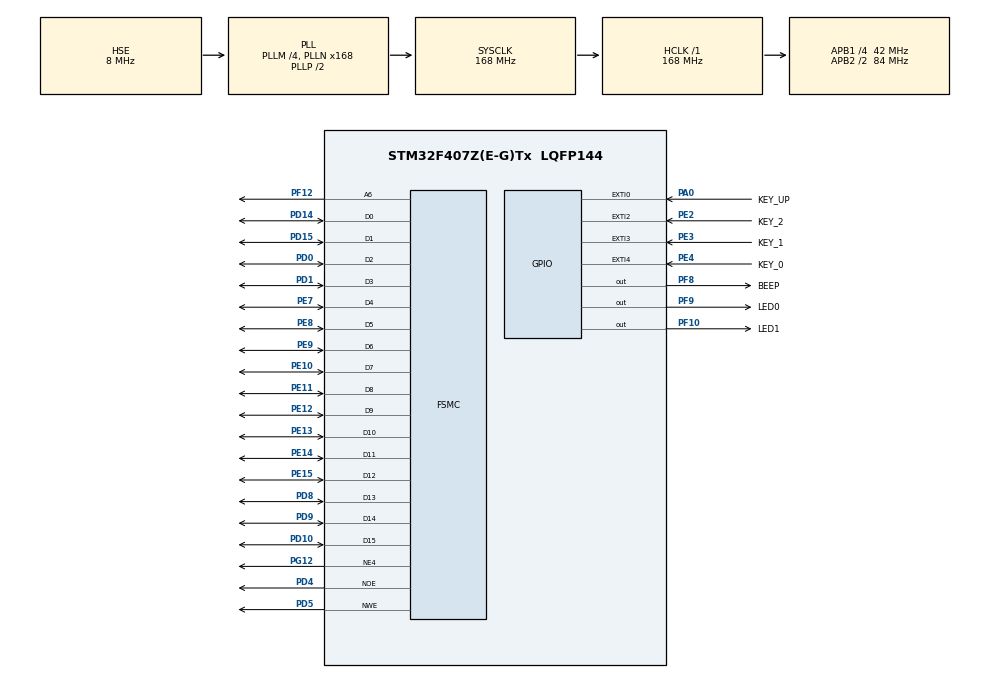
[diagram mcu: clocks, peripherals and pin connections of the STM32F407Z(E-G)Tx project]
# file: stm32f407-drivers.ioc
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FSMC.AddressSetupTime4=2
FSMC.BusTurnAroundDuration4=0
FSMC.DataSetupTime4=16
FSMC.ExtendedAddressSetupTime4=4
FSMC.ExtendedBusTurnAroundDuration4=0
FSMC.ExtendedDataSetupTime4=9
FSMC.ExtendedMode4=FSMC_EXTENDED_MODE_ENABLE
Mcu.Family=STM32F4
Mcu.Name=STM32F407Z(E-G)Tx
Mcu.Package=LQFP144
NVIC.EXTI0_IRQn=true\:1\:0\:true\:false\:true\:true\:true\:true
NVIC.EXTI2_IRQn=true\:2\:0\:true\:false\:true\:true\:true\:true
NVIC.EXTI3_IRQn=true\:1\:2\:true\:false\:true\:true\:true\:true
NVIC.EXTI4_IRQn=true\:1\:1\:true\:false\:true\:true\:true\:true
NVIC.PriorityGroup=NVIC_PRIORITYGROUP_2
PA0-WKUP.GPIO_Label=KEY_UP
PA0-WKUP.GPIO_ModeDefaultEXTI=GPIO_MODE_IT_RISING
PA0-WKUP.GPIO_PuPd=GPIO_PULLDOWN
PA0-WKUP.Signal=GPXTI0
PA13.Mode=Serial_Wire
PA13.Signal=SYS_JTMS-SWDIO
PA14.Mode=Serial_Wire
PA14.Signal=SYS_JTCK-SWCLK
PC14-OSC32_IN.Mode=LSE-External-Oscillator
PC14-OSC32_IN.Signal=RCC_OSC32_IN
PC15-OSC32_OUT.Mode=LSE-External-Oscillator
PC15-OSC32_OUT.Signal=RCC_OSC32_OUT
PD0.Signal=FSMC_D2_DA2
PD1.Signal=FSMC_D3_DA3
PD10.Signal=FSMC_D15_DA15
PD14.Signal=FSMC_D0_DA0
PD15.Signal=FSMC_D1_DA1
PD4.Signal=FSMC_NOE
PD5.Signal=FSMC_NWE
PD8.Signal=FSMC_D13_DA13
PD9.Signal=FSMC_D14_DA14
PE10.Signal=FSMC_D7_DA7
PE11.Signal=FSMC_D8_DA8
PE12.Signal=FSMC_D9_DA9
PE13.Signal=FSMC_D10_DA10
PE14.Signal=FSMC_D11_DA11
PE15.Signal=FSMC_D12_DA12
PE2.GPIO_Label=KEY_2
PE2.GPIO_ModeDefaultEXTI=GPIO_MODE_IT_FALLING
PE2.GPIO_PuPd=GPIO_PULLUP
PE2.Signal=GPXTI2
PE3.GPIO_Label=KEY_1
PE3.GPIO_ModeDefaultEXTI=GPIO_MODE_IT_FALLING
PE3.GPIO_PuPd=GPIO_PULLUP
PE3.Signal=GPXTI3
PE4.GPIO_Label=KEY_0
PE4.GPIO_ModeDefaultEXTI=GPIO_MODE_IT_FALLING
PE4.GPIO_PuPd=GPIO_PULLUP
PE4.Signal=GPXTI4
PE7.Signal=FSMC_D4_DA4
PE8.Signal=FSMC_D5_DA5
PE9.Signal=FSMC_D6_DA6
PF10.GPIO_Label=LED1
PF10.GPIO_Speed=GPIO_SPEED_FREQ_MEDIUM
PF10.PinState=GPIO_PIN_SET
PF10.Signal=GPIO_Output
PF12.Signal=FSMC_A6
PF8.GPIO_Label=BEEP
PF8.GPIO_Speed=GPIO_SPEED_FREQ_HIGH
PF8.Signal=GPIO_Output
PF9.GPIO_Label=LED0
PF9.GPIO_Speed=GPIO_SPEED_FREQ_MEDIUM
PF9.PinState=GPIO_PIN_SET
PF9.Signal=GPIO_Output
PG12.Mode=NorPsramChipSelect4_4
PG12.Signal=FSMC_NE4
PH0-OSC_IN.Mode=HSE-External-Oscillator
PH0-OSC_IN.Signal=RCC_OSC_IN
PH1-OSC_OUT.Mode=HSE-External-Oscillator
PH1-OSC_OUT.Signal=RCC_OSC_OUT
ProjectManager.HeapSize=0x200
ProjectManager.StackSize=0x400
ProjectManager.TargetToolchain=STM32CubeIDE
RCC.48MHZClocksFreq_Value=84000000
RCC.AHBFreq_Value=168000000
RCC.APB1CLKDivider=RCC_HCLK_DIV4
RCC.APB1Freq_Value=42000000
RCC.APB1TimFreq_Value=84000000
RCC.APB2CLKDivider=RCC_HCLK_DIV2
RCC.APB2Freq_Value=84000000
RCC.APB2TimFreq_Value=168000000
RCC.CortexFreq_Value=168000000
RCC.EnbaleCSS=true
RCC.HCLKFreq_Value=168000000
RCC.HSE_VALUE=8000000
RCC.HSI_VALUE=16000000
RCC.PLLM=4
RCC.PLLN=168
RCC.PLLSourceVirtual=RCC_PLLSOURCE_HSE
RCC.SYSCLKFreq_VALUE=168000000
RCC.SYSCLKSource=RCC_SYSCLKSOURCE_PLLCLK
RCC.VCOOutputFreq_Value=336000000
SH.FSMC_A6.0=FSMC_A6,A6_4
SH.FSMC_D0_DA0.0=FSMC_D0,16b-d4
SH.FSMC_D10_DA10.0=FSMC_D10,16b-d4
SH.FSMC_D11_DA11.0=FSMC_D11,16b-d4
SH.FSMC_D12_DA12.0=FSMC_D12,16b-d4
SH.FSMC_D13_DA13.0=FSMC_D13,16b-d4
SH.FSMC_D14_DA14.0=FSMC_D14,16b-d4
SH.FSMC_D15_DA15.0=FSMC_D15,16b-d4
SH.FSMC_D1_DA1.0=FSMC_D1,16b-d4
SH.FSMC_D2_DA2.0=FSMC_D2,16b-d4
SH.FSMC_D3_DA3.0=FSMC_D3,16b-d4
SH.FSMC_D4_DA4.0=FSMC_D4,16b-d4
SH.FSMC_D5_DA5.0=FSMC_D5,16b-d4
SH.FSMC_D6_DA6.0=FSMC_D6,16b-d4
SH.FSMC_D7_DA7.0=FSMC_D7,16b-d4
SH.FSMC_D8_DA8.0=FSMC_D8,16b-d4
SH.FSMC_D9_DA9.0=FSMC_D9,16b-d4
SH.FSMC_NOE.0=FSMC_NOE,Lcd4
SH.FSMC_NWE.0=FSMC_NWE,Lcd4
board=custom

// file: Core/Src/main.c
/* USER CODE BEGIN Header */
/**
  ******************************************************************************
  * @file           : main.c
  * @brief          : Main program body
  ******************************************************************************
  * @attention
  *
  * Copyright (c) 2026 STMicroelectronics.
  * All rights reserved.
  *
  * This software is licensed under terms that can be found in the LICENSE file
  * in the root directory of this software component.
  * If no LICENSE file comes with this software, it is provided AS-IS.
  *
  ******************************************************************************
  */
/* USER CODE END Header */
#include "main.h"
#include "gpio.h"
#include "fsmc.h"

/* USER CODE BEGIN Includes */
#include <stdio.h>
#include "key.h"
#include "led.h"
#include "beep.h"
//#include "exitCallback.h"
#include "tftlcd.h"
#include "picture.h"
/* USER CODE END Includes */

void SystemClock_Config(void);

int main(void)
{

  /* MCU Configuration--------------------------------------------------------*/

  /* Reset of all peripherals, Initializes the Flash interface and the Systick. */
  HAL_Init();

  /* Configure the system clock */
  SystemClock_Config();

  /* Initialize all configured peripherals */
  MX_GPIO_Init();
  MX_FSMC_Init();
  /* USER CODE BEGIN 2 */
  uint16_t color=0;
  TFTLCD_Init();			//LCD初始化

  FRONT_COLOR=BLACK;
  LCD_ShowString(10,10,tftlcd_data.width,tftlcd_data.height,12,"Hello World!");
  LCD_ShowString(10,30,tftlcd_data.width,tftlcd_data.height,16,"Hello World!");
  LCD_ShowString(10,50,tftlcd_data.width,tftlcd_data.height,24,"Hello World!");
  LCD_ShowString(10,120,tftlcd_data.width,tftlcd_data.height,24,"Meraki Zhang");

  LCD_Fill(10,150,60,180,GRAY);
  color=LCD_ReadPoint(20,160);
  LCD_Fill(100,150,150,180,color);
  printf("color=%x\r\n",color);

  LCD_ShowPicture(20,220,200,112,(uint8_t *)gImage_picture);

  /* USER CODE END 2 */

  /* Infinite loop */
  /* USER CODE BEGIN WHILE */
  while (1)
  {

	  KEYS pressedKey = ScanPressedKey(KEY_WAIT_ALWAYS);

	  switch(pressedKey)
	  {
	  	  case KEY_UP:
	  		  LED0_Toggle();
	  		  break;

	  	  case KEY_0:
	  		  LED1_Toggle();
	  		  break;

	  	  case KEY_1:
	  		  LED0_OFF();
	  		  LED1_OFF();
	  		  break;

	  	  case KEY_2:
	  		  BEEP_Toggle();
	  		  break;
	  }

	  HAL_Delay(200);
    /* USER CODE END WHILE */

  }
}

void SystemClock_Config(void)
{
  RCC_OscInitTypeDef RCC_OscInitStruct = {0};
  RCC_ClkInitTypeDef RCC_ClkInitStruct = {0};

  /** Configure the main internal regulator output voltage
  */
  __HAL_RCC_PWR_CLK_ENABLE();
  __HAL_PWR_VOLTAGESCALING_CONFIG(PWR_REGULATOR_VOLTAGE_SCALE1);

  /** Initializes the RCC Oscillators according to the specified parameters
  * in the RCC_OscInitTypeDef structure.
  */
  RCC_OscInitStruct.OscillatorType = RCC_OSCILLATORTYPE_HSE;
  RCC_OscInitStruct.HSEState = RCC_HSE_ON;
  RCC_OscInitStruct.PLL.PLLState = RCC_PLL_ON;
  RCC_OscInitStruct.PLL.PLLSource = RCC_PLLSOURCE_HSE;
  RCC_OscInitStruct.PLL.PLLM = 4;
  RCC_OscInitStruct.PLL.PLLN = 168;
  RCC_OscInitStruct.PLL.PLLP = RCC_PLLP_DIV2;
  RCC_OscInitStruct.PLL.PLLQ = 4;
  if (HAL_RCC_OscConfig(&RCC_OscInitStruct) != HAL_OK)
  {
    Error_Handler();
  }

  /** Initializes the CPU, AHB and APB buses clocks
  */
  RCC_ClkInitStruct.ClockType = RCC_CLOCKTYPE_HCLK|RCC_CLOCKTYPE_SYSCLK
                              |RCC_CLOCKTYPE_PCLK1|RCC_CLOCKTYPE_PCLK2;
  RCC_ClkInitStruct.SYSCLKSource = RCC_SYSCLKSOURCE_PLLCLK;
  RCC_ClkInitStruct.AHBCLKDivider = RCC_SYSCLK_DIV1;
  RCC_ClkInitStruct.APB1CLKDivider = RCC_HCLK_DIV4;
  RCC_ClkInitStruct.APB2CLKDivider = RCC_HCLK_DIV2;

  if (HAL_RCC_ClockConfig(&RCC_ClkInitStruct, FLASH_LATENCY_5) != HAL_OK)
  {
    Error_Handler();
  }

  /** Enables the Clock Security System
  */
  HAL_RCC_EnableCSS();
}

void Error_Handler(void)
{
  __disable_irq();
  while (1)
  {
  }
}
